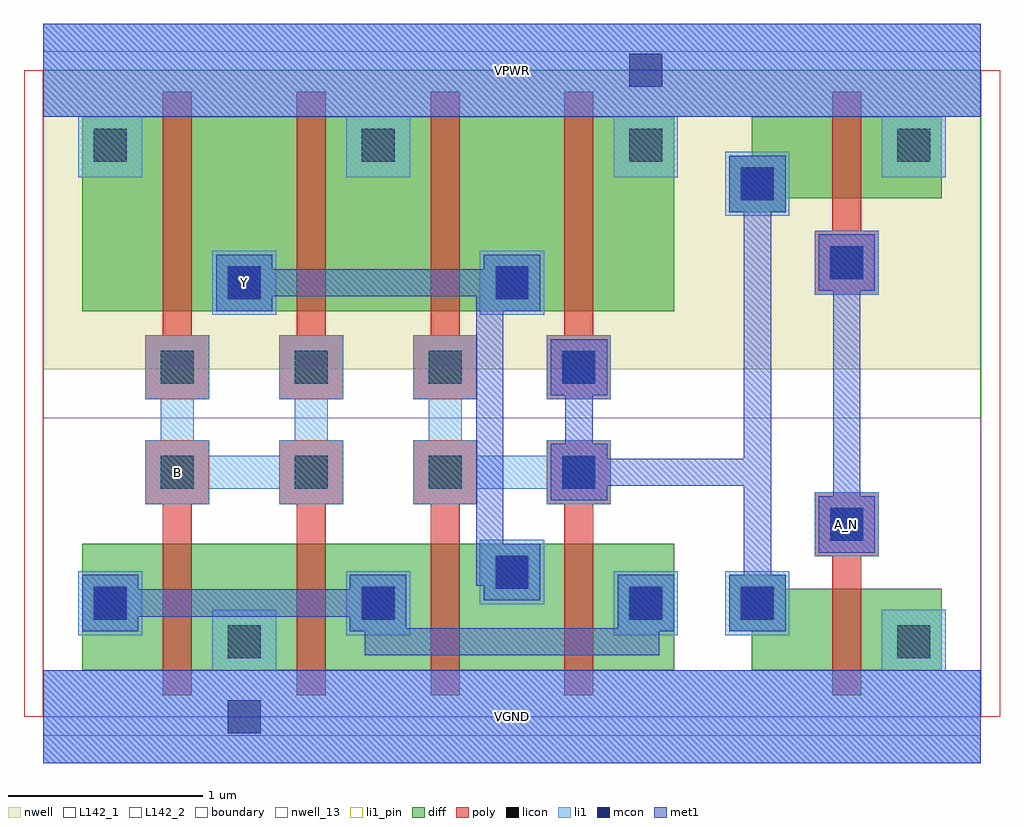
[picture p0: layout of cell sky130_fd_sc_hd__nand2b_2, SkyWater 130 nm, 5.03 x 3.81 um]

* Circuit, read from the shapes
.subckt sky130_fd_sc_hd__nand2b_2 A_N B VGND VPWR Y
XM1 VGND B n1 VSUBS sky130_fd_pr__nfet_01v8 w=0.65 l=0.15 m=2
XM2 Y n2 n1 VSUBS sky130_fd_pr__nfet_01v8 w=0.65 l=0.15 m=2
XM3 VGND A_N n2 VSUBS sky130_fd_pr__nfet_01v8 w=0.42 l=0.15
XM4 Y B VPWR n3 sky130_fd_pr__pfet_01v8 w=1 l=0.15 m=2
XM5 Y n2 VPWR n3 sky130_fd_pr__pfet_01v8 w=1 l=0.15 m=2
XM6 VPWR A_N n2 n3 sky130_fd_pr__pfet_01v8 w=0.42 l=0.15
.ends

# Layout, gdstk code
import gdstk
lib = gdstk.Library(unit=1e-6, precision=1e-09)
def R(c, l, rs):  # rectangles x0, y0, x1, y1
    for r in rs: c.add(gdstk.rectangle(r[:2], r[2:], *l))
def A(c, l, x, y, w, h, nx, ny, dx, dy):  # array of equal rectangles
    R(c, l, [(x+i*dx, y+j*dy, x+i*dx+w, y+j*dy+h) for i in range(nx) for j in range(ny)])
def P(c, l, *ps):  # polygons
    for p in ps: c.add(gdstk.Polygon(p, *l))
nwell_13 = (64, 13)
nwell = (64, 20)
diff = (65, 20)
poly = (66, 20)
licon = (66, 44)
li1_pin = (67, 16)
li1 = (67, 20)
mcon = (67, 44)
met1 = (68, 20)
L142_1 = (142, 1)
L142_2 = (142, 2)
boundary = (235, 4)

sky130_fd_sc_hd__nand2b_ = lib.new_cell('sky130_fd_sc_hd__nand2b_2')
R(sky130_fd_sc_hd__nand2b_, nwell_13, [(0,0,4.83,1.54)])
R(sky130_fd_sc_hd__nand2b_, nwell, [(0,1.79,4.83,3.33)])
A(sky130_fd_sc_hd__nand2b_, diff, 0.615, 0.24, 0.69, 0.65, 3, 1, 0.69, 0)
A(sky130_fd_sc_hd__nand2b_, diff, 0.615, 2.09, 0.69, 1, 3, 1, 0.69, 0)
R(sky130_fd_sc_hd__nand2b_, diff, [(0.2,0.24,3.25,0.89), (0.2,0.24,0.615,0.89), (2.685,0.24,3.25,0.89), (3.65,0.24,4.63,0.66), (4.065,0.24,4.63,0.66), (0.2,2.09,3.25,3.09), (0.2,2.09,0.615,3.09), (2.685,2.09,3.25,3.09), (3.65,2.67,4.63,3.09), (4.065,2.67,4.63,3.09)])
P(sky130_fd_sc_hd__nand2b_, diff, [(3.65,0.24),(3.65,0.44),(3.535,0.44),(3.535,0.73),(3.825,0.73),(3.825,0.66),(4.065,0.66),(4.065,0.24)],
  [(3.535,2.6),(3.535,2.89),(3.65,2.89),(3.65,3.09),(4.065,3.09),(4.065,2.67),(3.825,2.67),(3.825,2.6)])
P(sky130_fd_sc_hd__nand2b_, poly, [(0.615,0.11),(0.615,1.095),(0.525,1.095),(0.525,1.425),(0.855,1.425),(0.855,1.095),(0.765,1.095),(0.765,0.11)],
  [(1.305,0.11),(1.305,1.095),(1.215,1.095),(1.215,1.425),(1.545,1.425),(1.545,1.095),(1.455,1.095),(1.455,0.11)],
  [(0.525,1.635),(0.525,1.965),(0.615,1.965),(0.615,3.22),(0.765,3.22),(0.765,1.965),(0.855,1.965),(0.855,1.635)],
  [(1.215,1.635),(1.215,1.965),(1.305,1.965),(1.305,3.22),(1.455,3.22),(1.455,1.965),(1.545,1.965),(1.545,1.635)],
  [(4.065,0.11),(4.065,0.825),(3.975,0.825),(3.975,1.155),(4.305,1.155),(4.305,0.825),(4.215,0.825),(4.215,0.11)],
  [(3.975,2.175),(3.975,2.505),(4.065,2.505),(4.065,3.22),(4.215,3.22),(4.215,2.505),(4.305,2.505),(4.305,2.175)],
  [(1.995,0.11),(1.995,1.095),(1.905,1.095),(1.905,1.425),(2.235,1.425),(2.235,1.095),(2.145,1.095),(2.145,0.11)],
  [(2.685,0.11),(2.685,1.095),(2.595,1.095),(2.595,1.425),(2.925,1.425),(2.925,1.095),(2.835,1.095),(2.835,0.11)],
  [(1.905,1.635),(1.905,1.965),(1.995,1.965),(1.995,3.22),(2.145,3.22),(2.145,1.965),(2.235,1.965),(2.235,1.635)],
  [(2.595,1.635),(2.595,1.965),(2.685,1.965),(2.685,3.22),(2.835,3.22),(2.835,1.965),(2.925,1.965),(2.925,1.635)])
A(sky130_fd_sc_hd__nand2b_, licon, 0.26, 0.5, 0.17, 0.17, 3, 1, 1.38, 0)
A(sky130_fd_sc_hd__nand2b_, licon, 0.605, 1.175, 0.17, 0.17, 4, 2, 0.69, 0.54)
A(sky130_fd_sc_hd__nand2b_, licon, 0.26, 2.86, 0.17, 0.17, 4, 1, 1.38, 0)
R(sky130_fd_sc_hd__nand2b_, licon, [(0.95,0.3,1.12,0.47), (4.4,0.3,4.57,0.47), (3.595,0.5,3.765,0.67), (2.33,0.66,2.5,0.83), (4.055,0.905,4.225,1.075), (0.95,2.15,1.12,2.32), (2.33,2.15,2.5,2.32), (4.055,2.255,4.225,2.425), (3.595,2.66,3.765,2.83)])
R(sky130_fd_sc_hd__nand2b_, li1_pin, [(0,-0.24,4.83,0.24), (3.975,0.825,4.305,1.155), (0.87,2.07,1.2,2.4), (0,3.09,4.83,3.57)])
P(sky130_fd_sc_hd__nand2b_, li1_pin, [(0.525,1.095),(0.525,1.425),(0.605,1.425),(0.605,1.635),(0.525,1.635),(0.525,1.965),(0.855,1.965),(0.855,1.635),(0.775,1.635),(0.775,1.425),(0.855,1.425),(0.855,1.345),(1.215,1.345),(1.215,1.425),(1.295,1.425),(1.295,1.635),(1.215,1.635),(1.215,1.965),(1.545,1.965),(1.545,1.635),(1.465,1.635),(1.465,1.425),(1.545,1.425),(1.545,1.095),(1.215,1.095),(1.215,1.175),(0.855,1.175),(0.855,1.095)])
A(sky130_fd_sc_hd__nand2b_, li1, 0.18, 0.42, 0.33, 0.33, 3, 1, 1.38, 0)
R(sky130_fd_sc_hd__nand2b_, li1, [(3.515,0.42,3.845,0.75), (2.25,0.58,2.58,0.91), (3.975,0.825,4.305,1.155), (2.595,1.635,2.925,1.965), (0.87,2.07,1.2,2.4), (2.25,2.07,2.58,2.4), (3.975,2.175,4.305,2.505), (3.515,2.58,3.845,2.91)])
P(sky130_fd_sc_hd__nand2b_, li1, [(0.525,1.095),(0.525,1.425),(0.605,1.425),(0.605,1.635),(0.525,1.635),(0.525,1.965),(0.855,1.965),(0.855,1.635),(0.775,1.635),(0.775,1.425),(0.855,1.425),(0.855,1.345),(1.215,1.345),(1.215,1.425),(1.295,1.425),(1.295,1.635),(1.215,1.635),(1.215,1.965),(1.545,1.965),(1.545,1.635),(1.465,1.635),(1.465,1.425),(1.545,1.425),(1.545,1.095),(1.215,1.095),(1.215,1.175),(0.855,1.175),(0.855,1.095)],
  [(0.18,2.78),(0.18,3.09),(0,3.09),(0,3.57),(4.83,3.57),(4.83,3.09),(4.65,3.09),(4.65,2.78),(4.32,2.78),(4.32,3.09),(3.27,3.09),(3.27,2.78),(2.94,2.78),(2.94,3.09),(1.89,3.09),(1.89,2.78),(1.56,2.78),(1.56,3.09),(0.51,3.09),(0.51,2.78)],
  [(0,-0.24),(0,0.24),(0.87,0.24),(0.87,0.55),(1.2,0.55),(1.2,0.24),(4.32,0.24),(4.32,0.55),(4.65,0.55),(4.65,0.24),(4.83,0.24),(4.83,-0.24)],
  [(1.905,1.095),(1.905,1.425),(1.985,1.425),(1.985,1.635),(1.905,1.635),(1.905,1.965),(2.235,1.965),(2.235,1.635),(2.155,1.635),(2.155,1.425),(2.235,1.425),(2.235,1.345),(2.595,1.345),(2.595,1.425),(2.925,1.425),(2.925,1.095),(2.595,1.095),(2.595,1.175),(2.235,1.175),(2.235,1.095)])
A(sky130_fd_sc_hd__nand2b_, mcon, 0.26, 0.5, 0.17, 0.17, 3, 1, 1.38, 0)
R(sky130_fd_sc_hd__nand2b_, mcon, [(0.95,-0.085,1.12,0.085), (3.595,0.5,3.765,0.67), (2.33,0.66,2.5,0.83), (4.055,0.905,4.225,1.075), (2.675,1.175,2.845,1.345), (2.675,1.715,2.845,1.885), (0.95,2.15,1.12,2.32), (2.33,2.15,2.5,2.32), (4.055,2.255,4.225,2.425), (3.595,2.66,3.765,2.83), (3.02,3.245,3.19,3.415)])
R(sky130_fd_sc_hd__nand2b_, met1, [(0,-0.24,4.83,0.24), (0,3.09,4.83,3.57)])
P(sky130_fd_sc_hd__nand2b_, met1, [(2.27,0.6),(2.27,0.675),(2.23,0.675),(2.23,2.165),(1.18,2.165),(1.18,2.09),(0.89,2.09),(0.89,2.38),(1.18,2.38),(1.18,2.305),(2.27,2.305),(2.27,2.38),(2.56,2.38),(2.56,2.09),(2.37,2.09),(2.37,0.89),(2.56,0.89),(2.56,0.6)],
  [(3.995,0.845),(3.995,1.135),(4.07,1.135),(4.07,2.195),(3.995,2.195),(3.995,2.485),(4.285,2.485),(4.285,2.195),(4.21,2.195),(4.21,1.135),(4.285,1.135),(4.285,0.845)],
  [(3.535,0.44),(3.535,0.73),(3.61,0.73),(3.61,1.19),(2.905,1.19),(2.905,1.115),(2.615,1.115),(2.615,1.405),(2.69,1.405),(2.69,1.655),(2.615,1.655),(2.615,1.945),(2.905,1.945),(2.905,1.655),(2.83,1.655),(2.83,1.405),(2.905,1.405),(2.905,1.33),(3.61,1.33),(3.61,2.6),(3.535,2.6),(3.535,2.89),(3.825,2.89),(3.825,2.6),(3.75,2.6),(3.75,0.73),(3.825,0.73),(3.825,0.44)],
  [(1.655,0.315),(1.655,0.44),(1.58,0.44),(1.58,0.515),(0.49,0.515),(0.49,0.44),(0.2,0.44),(0.2,0.73),(0.49,0.73),(0.49,0.655),(1.58,0.655),(1.58,0.73),(1.87,0.73),(1.87,0.455),(2.96,0.455),(2.96,0.73),(3.25,0.73),(3.25,0.44),(3.175,0.44),(3.175,0.315)])
R(sky130_fd_sc_hd__nand2b_, L142_1, [(0,-0.1,4.83,0), (0,3.33,4.83,3.43)])
R(sky130_fd_sc_hd__nand2b_, L142_2, [(-0.1,0,0,3.33), (4.83,0,4.93,3.33)])
R(sky130_fd_sc_hd__nand2b_, boundary, [(0,0,4.83,3.33)])
sky130_fd_sc_hd__nand2b_.add(gdstk.Label('Y', (1.035,2.235), layer=67, texttype=5))
sky130_fd_sc_hd__nand2b_.add(gdstk.Label('B', (0.69,1.26), layer=67, texttype=5))
sky130_fd_sc_hd__nand2b_.add(gdstk.Label('A_N', (4.14,0.99), layer=67, texttype=5))
sky130_fd_sc_hd__nand2b_.add(gdstk.Label('VGND', (2.415,0), layer=67, texttype=5))
sky130_fd_sc_hd__nand2b_.add(gdstk.Label('VPWR', (2.415,3.33), layer=67, texttype=5))
sky130_fd_sc_hd__nand2b_.add(gdstk.Label('VGND', (2.415,0), layer=68, texttype=5))
sky130_fd_sc_hd__nand2b_.add(gdstk.Label('VPWR', (2.415,3.33), layer=68, texttype=5))

lib.write_gds('sky130_fd_sc_hd__nand2b_2.gds')
